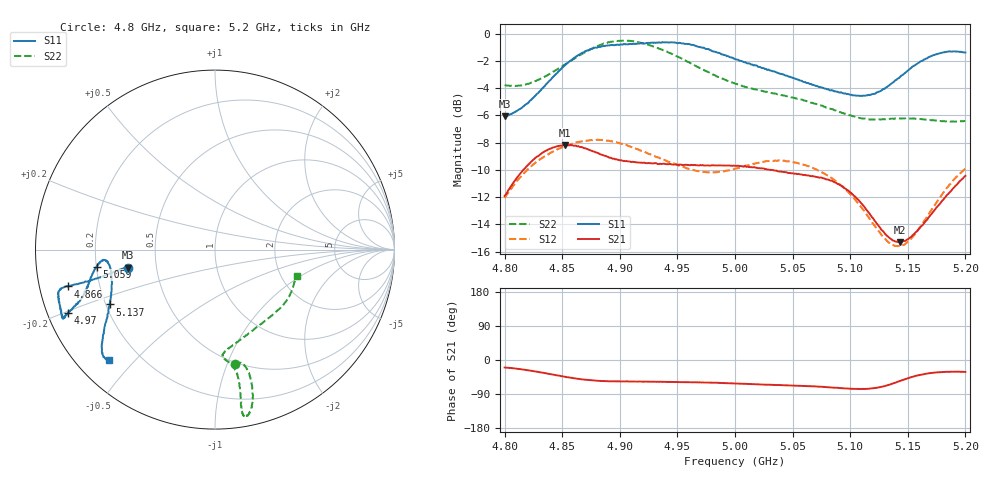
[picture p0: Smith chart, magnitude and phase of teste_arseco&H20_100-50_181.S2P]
! Network Analyzer HP8722D
! Hewlett-Packard
! Data name: Linha & Wilkinson
! Saver's name: Rodrigo Anjos
! Comments: Teste da utilização de aquisição
! continua pelo VNA HP8722D
! Time and date: 6/5/2025 14:04
!  Frequency  S11  S21  S12  S22
# HZ  S  MA R 50
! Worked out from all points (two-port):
!   401 points, 4.8 GHz to 5.2 GHz, reference 50 ohm
!   highest |S21| = -8.16 dB at 4.852 GHz (marker M1); lowest = -15.3 dB at 5.143 GHz (marker M2)
!   |S21| within 3 dB of the highest: 4.806 GHz to 5.092 GHz (286.3 MHz wide, 5.79 % of centre); 5.191451 GHz to end of sweep
!   lowest |S11| = -6.1 dB at 4.8 GHz (marker M3), VSWR 2.98, Z = 16.9 - j4.54 ohm
!   |S11| at or under -10 dB: nowhere
!   |S22| runs from -6.5 to -0.5 dB; largest |S21 - S12| = 0.62
!   S11 on the Smith chart (normalised r, x): 4.8 GHz: 0.34, -0.09; 4.866 GHz: 0.09, -0.12; 4.97 GHz: 0.06, -0.21; 5.059 GHz: 0.20, -0.07; 5.137 GHz: 0.22, -0.23; 5.2 GHz: 0.09, -0.42
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4.8e9  0.4974 -168.3  0.2536 -19.8  0.2493 -141.0  0.6478 -80.3
4.823e9  0.5714 -167.6  0.3389 -28.3  0.3258 -143.9  0.6615 -75.9
4.852e9  0.7641 -166.0  0.3906 -44.0  0.3861 -149.6  0.7695 -74.6
4.866e9  0.8449 -165.9  0.3838 -50.6  0.4018 -152.0  0.838 -75.4
4.867e9  0.8503 -166.1  0.3839 -51.1  0.4028 -152.2  0.843 -75.5
4.898e9  0.9124 -163.1  0.3449 -56.4  0.3974 -156.6  0.9411 -79.0
4.914e9  0.9191 -159.8  0.3375 -56.6  0.3785 -157.2  0.9361 -80.3
4.934e9  0.9309 -156.6  0.3324 -57.6  0.3508 -155.9  0.8822 -80.5
4.97e9  0.8927 -156.6  0.3296 -59.3  0.3121 -147.2  0.7469 -79.7
5e9  0.8077 -159.1  0.3275 -61.8  0.3196 -137.3  0.6567 -81.3
5.036e9  0.7212 -165.6  0.3144 -66.1  0.3416 -134.6  0.6013 -85.7
5.059e9  0.6669 -171.7  0.3032 -68.3  0.331 -136.3  0.5719 -84.4
5.067e9  0.6499 -173.1  0.3004 -69.2  0.3223 -137.0  0.5579 -82.7
5.083e9  0.6198 -174.6  0.2889 -72.4  0.297 -138.4  0.5302 -76.8
5.101e9  0.5972 -172.1  0.2601 -75.8  0.2548 -138.9  0.5006 -66.5
5.116e9  0.5971 -165.4  0.2207 -75.9  0.2118 -135.6  0.4853 -55.7
5.134e9  0.6468 -154.4  0.178 -65.2  0.1706 -120.6  0.4867 -43.3
5.137e9  0.6617 -152.5  0.174 -62.2  0.1677 -116.7  0.488 -41.5
5.143e9  0.6925 -149.2  0.1716 -55.6  0.166 -108.8  0.4889 -37.9
5.154e9  0.7569 -144.5  0.1817 -44.4  0.1791 -94.9  0.4886 -32.3
5.172e9  0.835 -139.1  0.2218 -33.7  0.2301 -81.3  0.4818 -24.6
5.2e9  0.8536 -133.8  0.3008 -31.5  0.3193 -77.0  0.4783 -17.6
